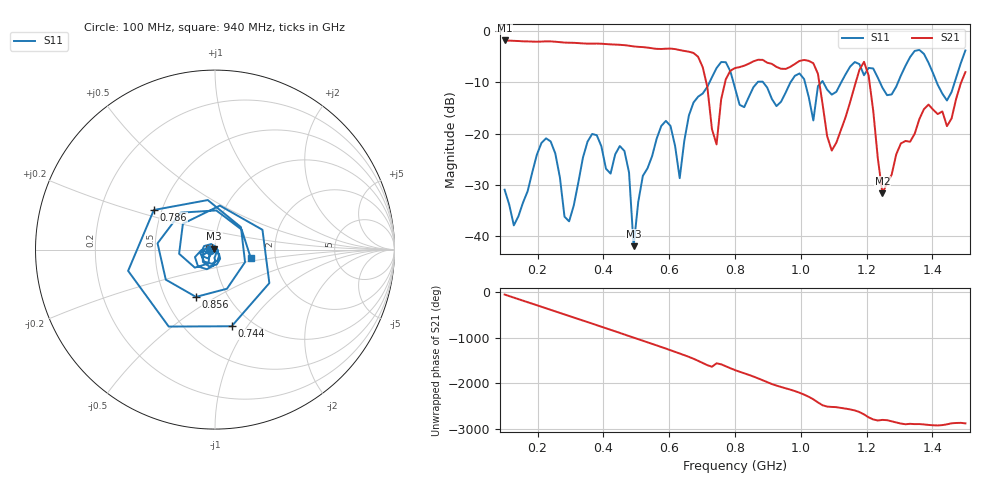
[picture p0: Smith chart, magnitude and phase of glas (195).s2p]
! NanoVNA-App
! Date: 2025-09-25 15:56:59
! Start: 100MHz Stop: 1,5GHz Points: 101
! S-Parameter data: F S11 S21 S12 S22
# Hz S RI R 50
!  Frequency  S11_Real  S11_Imag  S21_Real  S21_Imag  S12_Real  S12_Imag  S22_Real  S22_Imag
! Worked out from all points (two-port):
!   101 points, 100 MHz to 1.5 GHz, reference 50 ohm
!   highest |S21| = -1.80 dB at 100 MHz (marker M1); lowest = -31.7 dB at 1.248 GHz (marker M2)
!   |S21| within 3 dB of the highest: start of sweep to 684.3 MHz
!   lowest |S11| = -42.0 dB at 492 MHz (marker M3), VSWR 1.02, Z = 49.5 + j0.602 ohm
!   |S11| at or under -10 dB: start of sweep to 722.4 MHz; 795.3 MHz to 868.2 MHz (72.9 MHz wide, 8.76 % of centre); 885.8 MHz to 968.4 MHz (82.59 MHz wide, 8.91 % of centre) (the widest 3 of 7)
!   S12 and S22 are empty: the file has one direction only
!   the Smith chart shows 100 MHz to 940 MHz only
!   S11 on the Smith chart (normalised r, x): 100 MHz: 0.95, -0.01; 744 MHz: 0.80, -0.85; 786 MHz: 0.45, +0.24; 856 MHz: 0.71, -0.41; 940 MHz: 1.49, -0.15
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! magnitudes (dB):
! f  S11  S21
! 100 MHz  -31.0  -1.8
! 128 MHz  -37.9  -1.9
! 226 MHz  -20.9  -2.0
! 296 MHz  -37.1  -2.2
! 338 MHz  -24.7  -2.4
! 464 MHz  -23.4  -2.7
! 492 MHz  -42.0  -3.0
! 576 MHz  -18.5  -3.5
! 632 MHz  -28.7  -3.7
! 702 MHz  -12.2  -7.0
! 744 MHz  -7.2  -22.1
! 786 MHz  -7.8  -7.7
! 800 MHz  -11.1  -7.2
! 856 MHz  -10.9  -5.9
! 940 MHz  -13.8  -7.3
! 1.038 GHz  -17.4  -6.2
! 1.094 GHz  -12.4  -23.3
! 1.192 GHz  -8.6  -6.0
! 1.248 GHz  -11.0  -31.7
! 1.276 GHz  -12.3  -28.0
! 1.444 GHz  -13.5  -18.5
! 1.5 GHz  -3.8  -8.0
